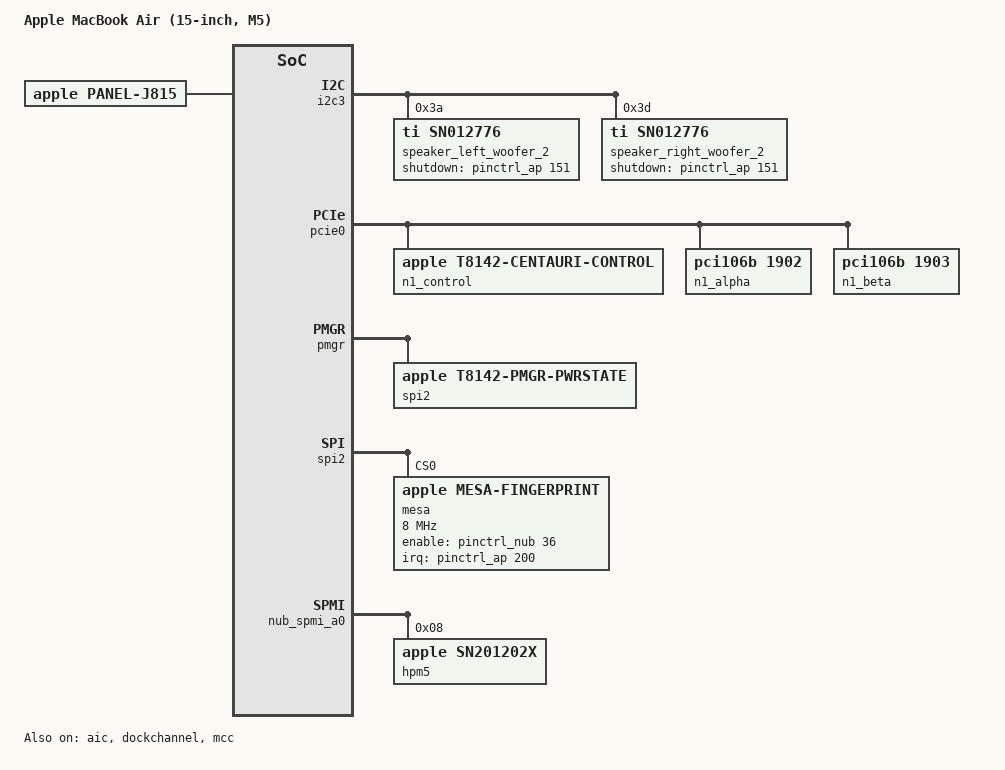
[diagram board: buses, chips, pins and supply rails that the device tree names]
// SPDX-License-Identifier: GPL-2.0+ OR MIT
/*
 * Apple MacBook Air (15-inch, M5), J815.
 *
 * J815 is the 15-inch sibling of J813 on the same T8142 die. It uses the
 * J813 board fragments and overrides what the J815 ADT shows to be
 * different:
 *
 *  - /chosen board-id 0x26 (J813: 0x24)
 *  - 15.3" 2880x1864 panel (2880x1800 below the notch), 326 x 211 mm
 *  - six SN012776 speaker amplifiers on i2c3 (0x38-0x3d: two tweeters and
 *    four force-cancelling woofers); J813 has four
 *  - ISP sensor-type 0x72 (J813: 0x71)
 *  - MTP hid-merge-personality C1FD3,3 (J813: C1FD1,4)
 *
 * The rest of the J813/J815 ADT difference is firmware selection (AOP
 * j815aop, acoustic-id 0x2b), ADMAC speaker channel counts and higher
 * CLPC package power limits.
 */
/dts-v1/;

#include "t8142.dtsi"

/ {
	compatible = "apple,j815", "apple,t8142", "apple,arm-platform";
	model = "Apple MacBook Air (15-inch, M5)";
	chassis-type = "laptop";

	aliases {
		serial0 = &dockchannel;
		serial1 = &serial0;
	};

	chosen {
		#address-cells = <2>;
		#size-cells = <2>;
		ranges;

		stdout-path = "serial0:1500000n8";

		framebuffer0: framebuffer@0 {
			compatible = "apple,simple-framebuffer", "simple-framebuffer";
			reg = <0 0 0 0>; /* Filled by the loader. */
			status = "disabled";
		};
	};
};

&cpu0 {
	operating-points-v2 = <&ecluster_opp>;
	performance-domains = <&cpufreq_e>;
	status = "okay";
};

&cpu1 {
	operating-points-v2 = <&ecluster_opp>;
	performance-domains = <&cpufreq_e>;
	status = "okay";
};

&cpu2 {
	operating-points-v2 = <&ecluster_opp>;
	performance-domains = <&cpufreq_e>;
	status = "okay";
};

&cpu3 {
	operating-points-v2 = <&ecluster_opp>;
	performance-domains = <&cpufreq_e>;
	status = "okay";
};

&cpu4 {
	operating-points-v2 = <&ecluster_opp>;
	performance-domains = <&cpufreq_e>;
	status = "okay";
};

&cpu5 {
	operating-points-v2 = <&ecluster_opp>;
	performance-domains = <&cpufreq_e>;
	status = "okay";
};

&cpu6 {
	operating-points-v2 = <&pcluster_opp>;
	performance-domains = <&cpufreq_p>;
	status = "okay";
};

&cpu7 {
	operating-points-v2 = <&pcluster_opp>;
	performance-domains = <&cpufreq_p>;
	status = "okay";
};

&cpu8 {
	operating-points-v2 = <&pcluster_opp>;
	performance-domains = <&cpufreq_p>;
	status = "okay";
};

&cpu9 {
	operating-points-v2 = <&pcluster_opp>;
	performance-domains = <&cpufreq_p>;
	status = "okay";
};

&{/timer} {
	status = "okay";
};

&aic {
	status = "okay";
};

&cpu_pmu {
	status = "okay";
};

&dockchannel {
	status = "okay";
};

#include "t8142-j813-display.dtsi"
#include "t8142-j813-gpu.dtsi"
#include "t8142-j813-peripherals.dtsi"
#include "t8142-j813-j815.dtsi"
#include "t8142-j813-usb.dtsi"
#include "t8142-j813-avd.dtsi"
#include "t8142-j813-isp.dtsi"
#include "t8142-j813-n1.dtsi"
#include "t8142-j813-audio.dtsi"

&mtp_hid {
	multi-touch {
		/* ADT hid-merge-personality C1FD3,3 (J813: C1FD1,4). */
		firmware-name = "apple/tpmtfw-j815.bin";
	};
};

&pmp {
	/* ADT /chosen board-id (J815) */
	apple,board-id = <38>;
};

&panel {
	compatible = "apple,panel-j815", "apple,panel";
	width-mm = <326>;
	height-mm = <211>;
	adj-height-mm = <204>;
};

&isp {
	/* J815 ADT /arm-io/isp sensor-type */
	apple,platform-id = <0x72>;
};

&aop_audio {
	/* The microphone card's name: AppleJ815HPAI. */
	apple,chassis-name = "J815";
	/* ADT iop-audio-controller/audio-speaker: 6 slots, 12 sense words. */
	apple,speaker-amps = <6>;
};

/*
 * Ambient light sensor, the AOP's "als" service: an ST VD6286, as on the
 * M4 Pro, not T8140's CT817. aop_als sends it the per-device calibration
 * (apple/aop-als-cal.bin) as its calibration property. There is no
 * firmware-name: that names the CT817 setup-port message, which this sensor
 * does not take.
 */
&aop {
	aop_als: als {
		compatible = "apple,t8142-aop-als", "apple,aop-als";
	};

	/*
	 * Lid angle: the J815 AOP firmware announces a "las" service, which
	 * macOS 27.2 on this machine binds as an AppleSPUHIDDevice (usage page
	 * 0x20, usage 0x8a), as on T6050. The ADT's i2c1 "mogul-las" is the
	 * sensor's authentication chip, not the angle.
	 */
	aop_las: las {
		compatible = "apple,t8142-aop-las", "apple,aop-las";
	};
};

/* Names as in speakersafetyd's j815.conf; slots from ADT speaker-config. */
&speaker_left_woofer {
	sound-name-prefix = "Left Woofer 1";
};

&speaker_right_woofer {
	sound-name-prefix = "Right Woofer 1";
};

&i2c3 {
	speaker_left_woofer_2: codec@3a {
		compatible = "ti,sn012776", "ti,tas2764";
		reg = <0x3a>;
		shutdown-gpios = <&pinctrl_ap 151 GPIO_ACTIVE_HIGH>;
		#sound-dai-cells = <0>;
		sound-name-prefix = "Left Woofer 2";
		ti,imon-slot-no = <18>;
		ti,vmon-slot-no = <16>;
		ti,bclk-ratio = <250>;
	};

	speaker_right_woofer_2: codec@3d {
		compatible = "ti,sn012776", "ti,tas2764";
		reg = <0x3d>;
		shutdown-gpios = <&pinctrl_ap 151 GPIO_ACTIVE_HIGH>;
		#sound-dai-cells = <0>;
		sound-name-prefix = "Right Woofer 2";
		ti,imon-slot-no = <22>;
		ti,vmon-slot-no = <20>;
		ti,bclk-ratio = <250>;
	};
};

/ {
	sound {
		compatible = "apple,j815-macaudio", "apple,macaudio";
		model = "MacBook Air J815";

		dai-link@1 {
			/*
			 * ADT speaker-config order: macaudio gives codec k playback
			 * slot k (left in 0, 2, 4; right in 1, 3, 5) as macOS does.
			 * The TX idle masks are J813's: J815's amp-tx-zd-config has
			 * the same words (left amps drive slots 0-3, 8-11, 16-19 on
			 * line 0, right amps 4-7, 12-15, 20-23 on line 1).
			 */
			codec {
				sound-dai = <&speaker_left_woofer>, <&speaker_right_woofer>,
					    <&speaker_left_tweeter>, <&speaker_right_tweeter>,
					    <&speaker_left_woofer_2>, <&speaker_right_woofer_2>;
			};
		};
	};
};

/*
 * N1 functions behind apcie port 0 (0000:00:00.0 -> 01:00.{0,1,2}), so the
 * loader has somewhere to put the factory addresses: it copies ADT /chosen
 * mac-address-wifi0 and mac-address-bluetooth0 into the wifi0/bluetooth0
 * alias targets, as on T6050 (t6050-j716s.dts).
 */
/ {
	aliases {
		wifi0 = &n1_alpha;
		bluetooth0 = &n1_beta;
		/*
		 * The loader finds the SEP through this alias: it reserves SEPFW
		 * and copies the boot's local-policy and iBoot manifests onto
		 * the node.
		 */
		sep = &sep;
	};
};

&pcie0 {
	n1_port: pci@0,0 {
		device_type = "pci";
		reg = <0x0 0x0 0x0 0x0 0x0>;
		bus-range = <1 1>;
		#address-cells = <3>;
		#size-cells = <2>;
		ranges;

		n1_control: control@0,0 {
			compatible = "apple,t8142-centauri-control", "pci106b,1900";
			reg = <0x10000 0x0 0x0 0x0 0x0>;
		};

		n1_alpha: wifi@0,1 {
			compatible = "pci106b,1902";
			reg = <0x10100 0x0 0x0 0x0 0x0>;
			/* Filled by the loader */
			local-mac-address = [00 00 00 00 00 00];
		};

		n1_beta: bluetooth@0,2 {
			compatible = "pci106b,1903";
			reg = <0x10200 0x0 0x0 0x0 0x0>;
			/* Filled by the loader */
			local-bd-address = [00 00 00 00 00 00];
		};
	};
};

/*
 * SMC sensors beyond the discovered temperatures. Only non-temperature nodes
 * may be added here: a temperature-* node would stop
 * apple,discover-temperatures. Keys the SMC lacks are skipped at probe. The
 * die key list is J704's (same T8142): the listed keys form the SoC die
 * thermal zone.
 */
&smc {
	hwmon {
		apple,discover-temperatures;
		apple,soc-die-keys = "Te04", "Te08", "Te0C", "Te0R",
				     "Tp00", "Tp04", "Tp0C", "Tp0G", "Tp0O",
				     "Tp0R", "Tp0X", "Tp0a", "Tp0p", "Tp0u",
				     "Tp0y", "Tp12", "Tp16", "Tp1E",
				     "Tg0U", "Tg0X", "Tg0d", "Tg0g", "Tg0j",
				     "Tg1Y", "Tg1c", "Tg1g";
		apple,thermal-pressure-key = "mTPL";

		power-PSTR {
			apple,key-id = "PSTR";
			label = "Total System Power";
		};

		power-PDTR {
			apple,key-id = "PDTR";
			label = "AC Input Power";
		};

		power-PMVR {
			apple,key-id = "PMVR";
			label = "3.8 V Rail Power";
		};

		voltage-VD0R {
			apple,key-id = "VD0R";
			label = "AC Input Voltage";
		};

		voltage-SBAV {
			apple,key-id = "SBAV";
			label = "Battery Voltage";
		};

		current-ID0R {
			apple,key-id = "ID0R";
			label = "AC Input Current";
		};
	};
};

/*
 * Secure Enclave and the Touch ID sensor. All values are from the J815 ADT
 * (macOS 27.0):
 *  - sep: iop-sep,ascwrap-v6 at 0x30a600000 (0x88000), pre-booted by iBoot
 *    (sepfw-booted), so apple_sep warm-attaches; its mailbox is the ASC
 *    mailbox at +0x8000, AIC 445-448 (ADT order 446,445,448,447 as on the
 *    AOP: send-empty..recv-not-empty ascending).
 *  - dart-sep: t8110 at 0x308b80000, irq 455; input aperture vm-base-0
 *    0x10000004000 + vm-size-0 0xffff0000 (the BIT(40) alias, as T8132).
 *  - spi2 at 0x3a5108000, irq 0x4d9; PMGR device SPI2 at +0x440, parent
 *    SPI_P (id 94).
 *  - mesa: "biosensor,mesa", sensor-id V3, 8 MHz, CS0; power
 *    function-mesa_pwr = NUB GPIO pin 36; data-ready interrupt on AP
 *    GPIO pin 200.
 * The SEP and its DART stay disabled here: apple_sep enables them at module
 * init (drivers/soc/apple/dt.rs).
 */
&pmgr {
	ps_spi2: power-controller@440 {
		compatible = "apple,t8142-pmgr-pwrstate", "apple,t8103-pmgr-pwrstate";
		reg = <0x440 4>;
		#power-domain-cells = <0>;
		#reset-cells = <0>;
		power-domains = <&ps_spi_p>;
		label = "spi2";
	};
};

&{/soc} {
	sep: sep@30a600000 {
		compatible = "apple,sep";
		reg = <0x3 0x0a600000 0x0 0x88000>;
		mboxes = <&sep_mbox>;
		mbox-names = "mbox";
		iommus = <&sep_dart 0>;
		status = "disabled";
	};

	sep_mbox: mbox@30a608000 {
		compatible = "apple,t8142-asc-mailbox", "apple,asc-mailbox-v4";
		reg = <0x3 0x0a608000 0x0 0x4000>;
		interrupt-parent = <&aic>;
		interrupts = <AIC_IRQ 445 IRQ_TYPE_LEVEL_HIGH>,
			     <AIC_IRQ 446 IRQ_TYPE_LEVEL_HIGH>,
			     <AIC_IRQ 447 IRQ_TYPE_LEVEL_HIGH>,
			     <AIC_IRQ 448 IRQ_TYPE_LEVEL_HIGH>;
		interrupt-names = "send-empty", "send-not-empty",
				  "recv-empty", "recv-not-empty";
		#mbox-cells = <0>;
		status = "okay";
	};

	spi2: spi@3a5108000 {
		compatible = "apple,t8142-spi", "apple,t8103-spi";
		reg = <0x3 0xa5108000 0x0 0x4000>;
		interrupt-parent = <&aic>;
		interrupts = <AIC_IRQ 1241 IRQ_TYPE_LEVEL_HIGH>;
		clocks = <&clkref>;
		power-domains = <&ps_spi2>;
		#address-cells = <1>;
		#size-cells = <0>;
		status = "okay";

		mesa: fingerprint@0 {
			compatible = "apple,mesa-fingerprint";
			reg = <0>;
			spi-max-frequency = <8000000>;
			spi-cpol;
			spi-cs-setup-delay-ns = <20>;
			spi-cs-hold-delay-ns = <20>;
			enable-gpios = <&pinctrl_nub 36 GPIO_ACTIVE_HIGH>;
			interrupt-parent = <&pinctrl_ap>;
			interrupts = <200 IRQ_TYPE_EDGE_RISING>;
			/* Per-device files, built from the Mac's own factory records. */
			firmware-name = "apple/mesacal-j815.bin", "apple/msrk-j815.bin";
			status = "okay";
		};
	};
};

&sep_dart {
	apple,dma-range = /bits/ 64 <0x10000004000 0xffff0000>;
	apple,dma-offset = /bits/ 64 <0x0>;
};

/* Expose the sensor's two pins next to the ones sound uses. */
&pinctrl_ap {
	gpio-reserved-ranges = <0 100>, <101 49>, <152 48>, <201 23>;
};

&pinctrl_nub {
	gpio-reserved-ranges = <0 18>, <19 17>, <37 3>;
};

/* aura (mcc_init_m5) turns the system level cache on; the driver confirms it and flushes on shutdown. */
&mcc {
	status = "okay";
};

/* The port controllers follow the sleep's command rules (tipd: woken first, read at intervals) */
&hpm0 {
	apple,sleep-ssps-rules;
};

&hpm1 {
	apple,sleep-ssps-rules;
};

/*
 * The MagSafe 3 port's PD controller: ADT hpm5 on nub-spmi-a0, SID 8, port-type
 * 0x11. It has no USB data path, so it gets no connector node; tipd registers a
 * Type-C port and a power supply for it, as on J714s. The bus is polled on
 * T8142, so like hpm0 and hpm1 it has no interrupts. Its ADT features-supported
 * is <3>, "Power In" only: no liquid detection.
 */
&nub_spmi_a0 {
	hpm5: usb-pd@8 {
		compatible = "apple,sn201202x";
		reg = <0x8 SPMI_USID>;
		apple,no-liquid-detection;
		/* The same sleep rules as hpm0 and hpm1, as the J714s's hpm5 has them. */
		apple,sleep-ssps-rules;
	};
};

#include "t8142-j813-j815-sleep.dtsi"

/*
 * The external display processors (dispext0/1), their DARTs, the display
 * crossbars and the USB-C ports' DisplayPort routes: the same two ports and
 * blocks as the J813. The loader hands both processors over and enables
 * them; without its hand-off they stay disabled.
 */
#include "t8142-j813-dcpext.dtsi"
